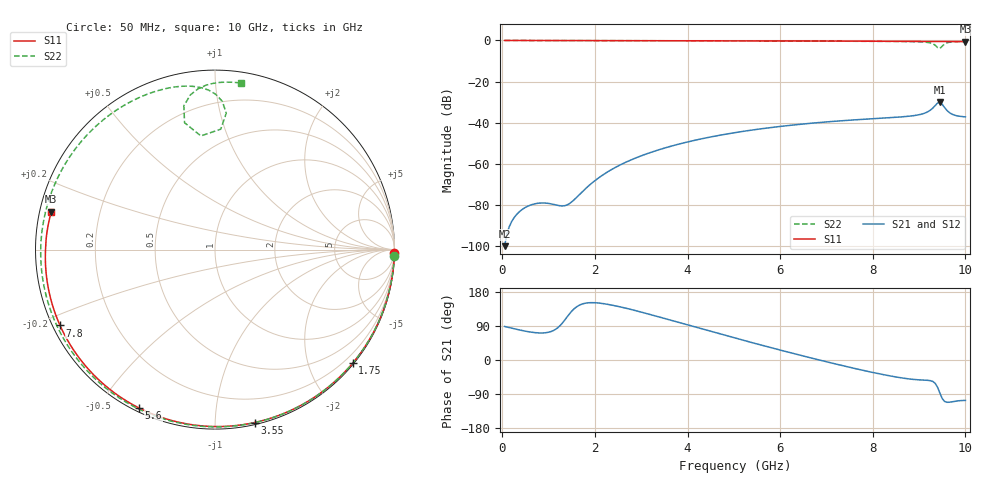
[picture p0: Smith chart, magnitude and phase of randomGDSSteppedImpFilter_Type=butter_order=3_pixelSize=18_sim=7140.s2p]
! freq	dB(S11)	phase(S11)	dB(S12)	phase(S12)
!  dB(S21)	phase(S21)	dB(S22)	phase(S22)
!S-par simulation data
#  GHz  S  DB  R 50
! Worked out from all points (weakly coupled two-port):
!   200 points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, 50 MHz to 10 GHz, reference 50 ohm
!   highest |S21| = -30.11 dB at 9.45 GHz (marker M1); lowest = -100.1 dB at 50 MHz (marker M2)
!   lowest |S11| = -0.6 dB at 10 GHz (marker M3), VSWR 30.31, Z = 1.67 + j5.71 ohm
!   |S11| at or under -10 dB: nowhere
!   |S22| runs from -3.9 to 0.0 dB; largest |S21 - S12| = 0
!   S11 on the Smith chart (normalised r, x): 50 MHz: open; 1.75 GHz: 0.03, -2.79; 3.55 GHz: 0.01, -1.25; 5.6 GHz: 0.01, -0.63; 7.8 GHz: 0.02, -0.23; 10 GHz: 0.03, +0.11
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0.05  -0.00 -1.2  -100.14 88.5  -100.14 88.5  -0.00 -2.0
0.7  -0.02 -16.0  -79.54 72.3  -79.54 72.3  -0.04 -26.8
1.4  -0.04 -31.8  -80.06 113.7  -80.06 113.7  -0.06 -52.6
1.75  -0.05 -39.5  -73.12 148.6  -73.12 148.6  -0.08 -64.8
2.05  -0.06 -46.0  -67.39 150.7  -67.39 150.7  -0.09 -74.9
2.45  -0.07 -54.5  -61.70 142.8  -61.70 142.8  -0.10 -87.8
3.4  -0.10 -74.1  -53.08 113.1  -53.08 113.1  -0.14 -116.0
3.55  -0.10 -77.1  -52.07 108.0  -52.07 108.0  -0.14 -120.2
4.3  -0.13 -91.7  -47.89 82.4  -47.89 82.4  -0.17 -140.1
5.05  -0.16 -105.7  -44.78 57.2  -44.78 57.2  -0.21 -158.9
5.6  -0.19 -115.7  -42.97 39.1  -42.97 39.1  -0.24 -172.3
6.7  -0.25 -135.0  -40.24 4.4  -40.24 4.4  -0.31 161.4
7.8  -0.34 -153.9  -38.37 -27.6  -38.37 -27.6  -0.39 134.2
8.35  -0.40 -163.4  -37.62 -41.5  -37.62 -41.5  -0.46 119.8
9.15  -0.48 -177.5  -35.12 -53.3  -35.12 -53.3  -0.88 94.5
9.35  -0.51 178.9  -31.61 -62.0  -31.61 -62.0  -2.35 85.3
9.4  -0.51 178.0  -30.44 -72.2  -30.44 -72.2  -3.45 87.3
9.45  -0.51 177.2  -30.11 -87.6  -30.11 -87.6  -3.90 97.1
9.5  -0.51 176.2  -31.09 -101.7  -31.09 -101.7  -2.77 103.5
9.55  -0.52 175.3  -32.64 -109.2  -32.64 -109.2  -1.73 102.2
9.65  -0.53 173.5  -35.04 -111.5  -35.04 -111.5  -0.90 95.9
10  -0.57 167.0  -37.20 -106.7  -37.20 -106.7  -0.54 81.0
